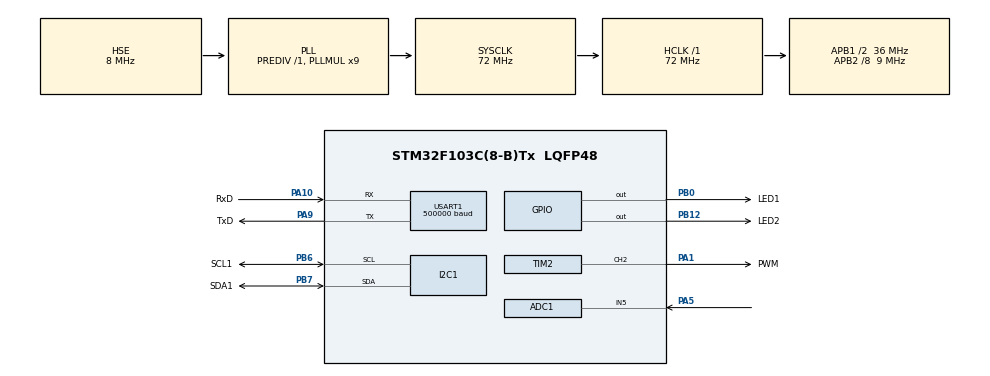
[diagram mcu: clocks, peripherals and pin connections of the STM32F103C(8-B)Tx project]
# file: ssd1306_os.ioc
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ADC1.Channel-0\#ChannelRegularConversion=ADC_CHANNEL_5
ADC1.ContinuousConvMode=ENABLE
ADC1.NbrOfConversionFlag=1
ADC1.Rank-0\#ChannelRegularConversion=1
ADC1.SamplingTime-0\#ChannelRegularConversion=ADC_SAMPLETIME_1CYCLE_5
ADC1.master=1
Dma.Request0=USART1_TX
Dma.Request1=TIM2_CH2/CH4
Dma.TIM2_CH2/CH4.1.Direction=DMA_MEMORY_TO_PERIPH
Dma.TIM2_CH2/CH4.1.Instance=DMA1_Channel7
Dma.TIM2_CH2/CH4.1.MemDataAlignment=DMA_MDATAALIGN_HALFWORD
Dma.TIM2_CH2/CH4.1.MemInc=DMA_MINC_ENABLE
Dma.TIM2_CH2/CH4.1.Mode=DMA_NORMAL
Dma.TIM2_CH2/CH4.1.PeriphDataAlignment=DMA_PDATAALIGN_HALFWORD
Dma.TIM2_CH2/CH4.1.PeriphInc=DMA_PINC_DISABLE
Dma.TIM2_CH2/CH4.1.Priority=DMA_PRIORITY_LOW
Dma.USART1_TX.0.Direction=DMA_MEMORY_TO_PERIPH
Dma.USART1_TX.0.Instance=DMA1_Channel4
Dma.USART1_TX.0.MemDataAlignment=DMA_MDATAALIGN_BYTE
Dma.USART1_TX.0.MemInc=DMA_MINC_ENABLE
Dma.USART1_TX.0.Mode=DMA_NORMAL
Dma.USART1_TX.0.PeriphDataAlignment=DMA_PDATAALIGN_BYTE
Dma.USART1_TX.0.PeriphInc=DMA_PINC_DISABLE
Dma.USART1_TX.0.Priority=DMA_PRIORITY_HIGH
FREERTOS.BinarySemaphores01=semUart,Dynamic,NULL
FREERTOS.HEAP_NUMBER=4
FREERTOS.INCLUDE_eTaskGetState=1
FREERTOS.INCLUDE_pcTaskGetTaskName=1
FREERTOS.INCLUDE_uxTaskGetStackHighWaterMark=1
FREERTOS.INCLUDE_vTaskCleanUpResources=1
FREERTOS.INCLUDE_vTaskDelayUntil=1
FREERTOS.INCLUDE_xEventGroupSetBitFromISR=0
FREERTOS.INCLUDE_xQueueGetMutexHolder=1
FREERTOS.INCLUDE_xSemaphoreGetMutexHolder=1
FREERTOS.INCLUDE_xTaskAbortDelay=1
FREERTOS.INCLUDE_xTaskGetCurrentTaskHandle=1
FREERTOS.INCLUDE_xTaskGetHandle=1
FREERTOS.INCLUDE_xTimerPendFunctionCall=0
FREERTOS.MEMORY_ALLOCATION=0
FREERTOS.Tasks01=defTask,1,768,StartDefTask,Default,NULL,Dynamic,NULL,NULL;sensTask,0,384,StartSensTask,Default,NULL,Dynamic,NULL,NULL;pwmTask,0,384,StartPwmTask,Default,NULL,Dynamic,NULL,NULL
FREERTOS.configCHECK_FOR_STACK_OVERFLOW=0
FREERTOS.configMINIMAL_STACK_SIZE=128
FREERTOS.configQUEUE_REGISTRY_SIZE=4
FREERTOS.configTOTAL_HEAP_SIZE=12288
FREERTOS.configUSE_APPLICATION_TASK_TAG=1
FREERTOS.configUSE_COUNTING_SEMAPHORES=1
FREERTOS.configUSE_CO_ROUTINES=0
FREERTOS.configUSE_IDLE_HOOK=1
FREERTOS.configUSE_MALLOC_FAILED_HOOK=1
FREERTOS.configUSE_MUTEXES=1
FREERTOS.configUSE_RECURSIVE_MUTEXES=1
FREERTOS.configUSE_TICKLESS_IDLE=1
FREERTOS.configUSE_TICK_HOOK=1
FREERTOS.configUSE_TIMERS=0
I2C1.I2C_Mode=I2C_Fast
Mcu.Family=STM32F1
Mcu.Name=STM32F103C(8-B)Tx
Mcu.Package=LQFP48
NVIC.ADC1_2_IRQn=true\:15\:0\:true\:false\:true\:false\:true\:true
NVIC.DMA1_Channel4_IRQn=true\:6\:0\:true\:false\:true\:false\:false\:true
NVIC.DMA1_Channel7_IRQn=true\:4\:0\:true\:false\:true\:false\:false\:true
NVIC.PriorityGroup=NVIC_PRIORITYGROUP_4
NVIC.RTC_IRQn=true\:2\:0\:true\:false\:true\:false\:true\:true
NVIC.TIM1_UP_IRQn=true\:1\:0\:true\:false\:true\:false\:true\:true
NVIC.TIM2_IRQn=true\:4\:0\:true\:false\:true\:false\:true\:true
NVIC.TIM4_IRQn=true\:0\:0\:false\:false\:true\:false\:false\:true
NVIC.TimeBase=TIM4_IRQn
NVIC.TimeBaseIP=TIM4
NVIC.USART1_IRQn=true\:3\:0\:true\:false\:true\:false\:true\:true
PA1.GPIO_Label=PWM
PA1.Signal=S_TIM2_CH2
PA10.GPIO_Label=RxD
PA10.GPIO_Mode=GPIO_MODE_INPUT
PA10.GPIO_PuPd=GPIO_NOPULL
PA10.Mode=Asynchronous
PA10.Signal=USART1_RX
PA13.Mode=Serial_Wire
PA13.Signal=SYS_JTMS-SWDIO
PA14.Mode=Serial_Wire
PA14.Signal=SYS_JTCK-SWCLK
PA5.Signal=ADCx_IN5
PA9.GPIO_Label=TxD
PA9.GPIO_Mode=GPIO_MODE_AF_PP
PA9.GPIO_Speed=GPIO_SPEED_FREQ_HIGH
PA9.Mode=Asynchronous
PA9.Signal=USART1_TX
PB0.GPIO_Label=LED1
PB0.GPIO_ModeDefaultOutputPP=GPIO_MODE_OUTPUT_PP
PB0.GPIO_PuPd=GPIO_NOPULL
PB0.GPIO_Speed=GPIO_SPEED_FREQ_LOW
PB0.PinState=GPIO_PIN_RESET
PB0.Signal=GPIO_Output
PB12.GPIO_Label=LED2
PB12.GPIO_ModeDefaultOutputPP=GPIO_MODE_OUTPUT_PP
PB12.GPIO_PuPd=GPIO_NOPULL
PB12.GPIO_Speed=GPIO_SPEED_FREQ_LOW
PB12.PinState=GPIO_PIN_RESET
PB12.Signal=GPIO_Output
PB6.GPIO_Label=SCL1
PB6.Mode=I2C
PB6.Signal=I2C1_SCL
PB7.GPIO_Label=SDA1
PB7.Mode=I2C
PB7.Signal=I2C1_SDA
PC14-OSC32_IN.Mode=LSE-External-Oscillator
PC14-OSC32_IN.Signal=RCC_OSC32_IN
PC15-OSC32_OUT.Mode=LSE-External-Oscillator
PC15-OSC32_OUT.Signal=RCC_OSC32_OUT
PD0-OSC_IN.Mode=HSE-External-Oscillator
PD0-OSC_IN.Signal=RCC_OSC_IN
PD1-OSC_OUT.Mode=HSE-External-Oscillator
PD1-OSC_OUT.Signal=RCC_OSC_OUT
ProjectManager.HeapSize=0x200
ProjectManager.StackSize=0x400
ProjectManager.TargetToolchain=SW4STM32
RCC.ADCPresc=RCC_ADCPCLK2_DIV8
RCC.AHBFreq_Value=72000000
RCC.APB1CLKDivider=RCC_HCLK_DIV2
RCC.APB1Freq_Value=36000000
RCC.APB1TimFreq_Value=72000000
RCC.APB2CLKDivider=RCC_HCLK_DIV8
RCC.APB2Freq_Value=9000000
RCC.APB2TimFreq_Value=18000000
RCC.HCLKFreq_Value=72000000
RCC.PLLMUL=RCC_PLL_MUL9
RCC.PLLSourceVirtual=RCC_PLLSOURCE_HSE
RCC.RTCClockSelection=RCC_RTCCLKSOURCE_LSE
RCC.SYSCLKFreq_VALUE=72000000
RCC.SYSCLKSource=RCC_SYSCLKSOURCE_PLLCLK
RCC.USBFreq_Value=72000000
RTC.AutoPrediv=RTC_AUTO_1_SECOND
RTC.Format=RTC_FORMAT_BIN
RTC.OutPut=RTC_OUTPUTSOURCE_ALARM
SH.ADCx_IN5.0=ADC1_IN5,IN5
SH.S_TIM2_CH2.0=TIM2_CH2,PWM Generation2 CH2
TIM1.AutoReloadPreload=TIM_AUTORELOAD_PRELOAD_ENABLE
TIM1.Period=499
TIM1.Prescaler=17999
TIM1.TIM_MasterOutputTrigger=TIM_TRGO_UPDATE
TIM2.AutoReloadPreload=TIM_AUTORELOAD_PRELOAD_ENABLE
TIM2.Channel-PWM\ Generation2\ CH2=TIM_CHANNEL_2
TIM2.Period=89
USART1.BaudRate=500000
USART1.VirtualMode=VM_ASYNC
VP_FREERTOS_VS_CMSIS_V1.Mode=CMSIS_V1
VP_RTC_VS_RTC_Activate.Mode=RTC_Enabled
VP_RTC_VS_RTC_Calendar.Mode=RTC_Calendar
VP_SYS_VS_tim4.Mode=TIM4
VP_TIM1_VS_ClockSourceINT.Mode=Internal
VP_TIM2_VS_ClockSourceINT.Mode=Internal
board=custom

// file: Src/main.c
/* USER CODE BEGIN Header */
/**
  ******************************************************************************
  * @file           : main.c
  * @brief          : Main program body
  ******************************************************************************
  * @attention
  *
  * <h2><center>&copy; Copyright (c) 2019 STMicroelectronics.
  * All rights reserved.</center></h2>
  *
  * This software component is licensed by ST under Ultimate Liberty license
  * SLA0044, the "License"; You may not use this file except in compliance with
  * the License. You may obtain a copy of the License at:
  *                             www.st.com/SLA0044
  *
  ******************************************************************************
  */
/* USER CODE END Header */

#include "main.h"

/* USER CODE BEGIN Includes */
#include "setDef.h"
#include "ssd1306.h"
#include "bmp280.h"
#include "ws2812.h"
#include "bh1750.h"
/*
post-build steps command:
arm-none-eabi-objcopy -O binary "${BuildArtifactFileBaseName}.elf" "${BuildArtifactFileBaseName}.bin" && ls -la | grep "${BuildArtifactFileBaseName}.*"
*/
/* USER CODE END Includes */

/* USER CODE BEGIN PD */

//const char *ver = "ver. 2.4";//16.04.2019 major changes : add freeRTOS
//const char *ver = "ver. 2.5";//19.04.2019 major changes : add mailQueue
//const char *ver = "ver. 2.6";//20.04.2019 major changes : add new feature - support ws2812
//const char *ver = "ver. 2.7";//20.04.2019 major changes : used dma1_ch4 for send data to uart1, used Semaphore for access to uart1
//const char *ver = "ver. 2.7.1";//21.04.2019 minor changes+
//const char *ver = "ver. 2.8";//22.04.2019 major changes : used i2c1 for ssd1306 and bmp280
//const char *ver = "ver. 2.9";//22.04.2019 final release : i2c1 without dma and interrupt
const char *ver = "ver. 3.0";//23.04.2019 final release+ : add bh1750 sensor

/* USER CODE END PD */

ADC_HandleTypeDef hadc1;

I2C_HandleTypeDef hi2c1;

RTC_HandleTypeDef hrtc;

TIM_HandleTypeDef htim1;
TIM_HandleTypeDef htim2;
DMA_HandleTypeDef hdma_tim2_ch2_ch4;

UART_HandleTypeDef huart1;
DMA_HandleTypeDef hdma_usart1_tx;

osThreadId defTaskHandle;
osThreadId bmpTaskHandle;
osThreadId pwmTaskHandle;
osSemaphoreId semUartHandle;
/* USER CODE BEGIN PV */

I2C_HandleTypeDef *portBMP;
I2C_HandleTypeDef *portSSD;
I2C_HandleTypeDef *portBH;

osMailQId mailQueue = NULL;

HAL_StatusTypeDef i2cError = HAL_OK;
const uint32_t min_wait_ms = 350;
const uint32_t max_wait_ms = 1000;
volatile static uint32_t secCounter = 0;
volatile static uint64_t HalfSecCounter = 0;
volatile static float dataADC = 0.0;

static const char *_extDate = "date=";
volatile uint32_t extDate = 0;
static bool setDate = false;
static char RxBuf[MAX_UART_BUF];
volatile uint8_t rx_uk;
volatile uint8_t uRxByte = 0;

uint8_t GoTxDMA = 0;

const rgb_t ws2812_const[LED_COUNT] = {
	RGB_SET(L64,   0,   0),
	RGB_SET(0,   L64,   0),
	RGB_SET(0,     0, L64),
	RGB_SET(L64, L64,   0),
	RGB_SET(0,   L64, L64),
	RGB_SET(L64,   0, L64),
	RGB_SET(L64, L64, L64),
	RGB_SET(L32,   0,   0)
};
const dir_mode_t scena[] = {
   	ZERO_ALL,
	RAINBOW,
   	COLOR_DOWN,
	COLOR_UP,
	WHITE_DOWN,
	WHITE_UP,
	ZERO_ALL
};

/* USER CODE END PV */

void SystemClock_Config(void);
static void MX_GPIO_Init(void);
static void MX_DMA_Init(void);
static void MX_USART1_UART_Init(void);
static void MX_ADC1_Init(void);
static void MX_RTC_Init(void);
static void MX_TIM1_Init(void);
static void MX_TIM2_Init(void);
static void MX_I2C1_Init(void);
void StartDefTask(void const * argument);
void StartSensTask(void const * argument);
void StartPwmTask(void const * argument);

/* USER CODE BEGIN PFP */

int sec_to_str_time(uint32_t sec, char *stx);
void inc_secCounter();
uint32_t get_secCounter();
uint32_t get_tmr(uint32_t sec);
bool check_tmr(uint32_t sec);
void Report(const char *txt, bool addTime);
void errLedOn(const char *from);

/* USER CODE END PFP */

int main(void)
{

  /* MCU Configuration--------------------------------------------------------*/

  /* Reset of all peripherals, Initializes the Flash interface and the Systick. */
  HAL_Init();

  /* Configure the system clock */
  SystemClock_Config();

  /* Initialize all configured peripherals */
  MX_GPIO_Init();
  MX_DMA_Init();
  MX_USART1_UART_Init();
  MX_ADC1_Init();
  MX_RTC_Init();
  MX_TIM1_Init();
  MX_TIM2_Init();
  MX_I2C1_Init();
  /* USER CODE BEGIN 2 */

  portBMP = &hi2c1;
  portSSD = &hi2c1;
  portBH  = &hi2c1;

  HAL_GPIO_WritePin(GPIOB, LED1_Pin | LED_ERROR, GPIO_PIN_SET);//LEDs OFF

  // start timer1 + interrupt
  HAL_TIM_Base_Start(&htim1);
  HAL_TIM_Base_Start_IT(&htim1);
  //start ADC1 + interrupt
  HAL_ADC_Start_IT(&hadc1);
  //"start" rx_interrupt
  HAL_UART_Receive_IT(&huart1, (uint8_t *)&uRxByte, 1);

  ssd1306_on(true);//screen ON
  if (!i2cError) {
	  ssd1306_init();//screen INIT
	  if (!i2cError) {
		  ssd1306_pattern();//set any params for screen
		  if (!i2cError) {
#ifdef SET_SSD1306_INVERT
			  ssd1306_invert();//set inverse color mode
			  if (!i2cError)
#endif
				  ssd1306_clear();//clear screen
		  }
      }
  }

  bh1750_off();

  /* USER CODE END 2 */

  /* Create the semaphores(s) */
  /* definition and creation of semUart */
  osSemaphoreDef(semUart);
  semUartHandle = osSemaphoreCreate(osSemaphore(semUart), 1);

  /* USER CODE BEGIN RTOS_QUEUES */
  /* add queues, ... */

  osMailQDef(nameQueue, 4, result_t);
  mailQueue = osMailCreate(osMailQ(nameQueue), NULL);

  /* USER CODE END RTOS_QUEUES */

  /* Create the thread(s) */
  /* definition and creation of defTask */
  osThreadDef(defTask, StartDefTask, osPriorityAboveNormal, 0, 768);
  defTaskHandle = osThreadCreate(osThread(defTask), NULL);

  /* definition and creation of sensTask */
  osThreadDef(sensTask, StartSensTask, osPriorityNormal, 0, 384);
  bmpTaskHandle = osThreadCreate(osThread(sensTask), NULL);

  /* definition and creation of pwmTask */
  osThreadDef(pwmTask, StartPwmTask, osPriorityNormal, 0, 384);
  pwmTaskHandle = osThreadCreate(osThread(pwmTask), NULL);

  /* Start scheduler */
  osKernelStart();

  /* We should never get here as control is now taken by the scheduler */

  /* Infinite loop */
  /* USER CODE BEGIN WHILE */

  	  LOOP_FOREVER();

    /* USER CODE END WHILE */

}

void SystemClock_Config(void)
{
  RCC_OscInitTypeDef RCC_OscInitStruct = {0};
  RCC_ClkInitTypeDef RCC_ClkInitStruct = {0};
  RCC_PeriphCLKInitTypeDef PeriphClkInit = {0};

  /** Initializes the CPU, AHB and APB busses clocks
  */
  RCC_OscInitStruct.OscillatorType = RCC_OSCILLATORTYPE_HSE|RCC_OSCILLATORTYPE_LSE;
  RCC_OscInitStruct.HSEState = RCC_HSE_ON;
  RCC_OscInitStruct.HSEPredivValue = RCC_HSE_PREDIV_DIV1;
  RCC_OscInitStruct.LSEState = RCC_LSE_ON;
  RCC_OscInitStruct.HSIState = RCC_HSI_ON;
  RCC_OscInitStruct.PLL.PLLState = RCC_PLL_ON;
  RCC_OscInitStruct.PLL.PLLSource = RCC_PLLSOURCE_HSE;
  RCC_OscInitStruct.PLL.PLLMUL = RCC_PLL_MUL9;
  if (HAL_RCC_OscConfig(&RCC_OscInitStruct) != HAL_OK)
  {
    Error_Handler();
  }
  /** Initializes the CPU, AHB and APB busses clocks
  */
  RCC_ClkInitStruct.ClockType = RCC_CLOCKTYPE_HCLK|RCC_CLOCKTYPE_SYSCLK
                              |RCC_CLOCKTYPE_PCLK1|RCC_CLOCKTYPE_PCLK2;
  RCC_ClkInitStruct.SYSCLKSource = RCC_SYSCLKSOURCE_PLLCLK;
  RCC_ClkInitStruct.AHBCLKDivider = RCC_SYSCLK_DIV1;
  RCC_ClkInitStruct.APB1CLKDivider = RCC_HCLK_DIV2;
  RCC_ClkInitStruct.APB2CLKDivider = RCC_HCLK_DIV8;

  if (HAL_RCC_ClockConfig(&RCC_ClkInitStruct, FLASH_LATENCY_2) != HAL_OK)
  {
    Error_Handler();
  }
  PeriphClkInit.PeriphClockSelection = RCC_PERIPHCLK_RTC|RCC_PERIPHCLK_ADC;
  PeriphClkInit.RTCClockSelection = RCC_RTCCLKSOURCE_LSE;
  PeriphClkInit.AdcClockSelection = RCC_ADCPCLK2_DIV8;
  if (HAL_RCCEx_PeriphCLKConfig(&PeriphClkInit) != HAL_OK)
  {
    Error_Handler();
  }
}

static void MX_ADC1_Init(void)
{

  ADC_ChannelConfTypeDef sConfig = {0};

  /** Common config
  */
  hadc1.Instance = ADC1;
  hadc1.Init.ScanConvMode = ADC_SCAN_DISABLE;
  hadc1.Init.ContinuousConvMode = ENABLE;
  hadc1.Init.DiscontinuousConvMode = DISABLE;
  hadc1.Init.ExternalTrigConv = ADC_SOFTWARE_START;
  hadc1.Init.DataAlign = ADC_DATAALIGN_RIGHT;
  hadc1.Init.NbrOfConversion = 1;
  if (HAL_ADC_Init(&hadc1) != HAL_OK)
  {
    Error_Handler();
  }
  /** Configure Regular Channel
  */
  sConfig.Channel = ADC_CHANNEL_5;
  sConfig.Rank = ADC_REGULAR_RANK_1;
  sConfig.SamplingTime = ADC_SAMPLETIME_1CYCLE_5;
  if (HAL_ADC_ConfigChannel(&hadc1, &sConfig) != HAL_OK)
  {
    Error_Handler();
  }

}

static void MX_I2C1_Init(void)
{

  hi2c1.Instance = I2C1;
  hi2c1.Init.ClockSpeed = 400000;
  hi2c1.Init.DutyCycle = I2C_DUTYCYCLE_2;
  hi2c1.Init.OwnAddress1 = 0;
  hi2c1.Init.AddressingMode = I2C_ADDRESSINGMODE_7BIT;
  hi2c1.Init.DualAddressMode = I2C_DUALADDRESS_DISABLE;
  hi2c1.Init.OwnAddress2 = 0;
  hi2c1.Init.GeneralCallMode = I2C_GENERALCALL_DISABLE;
  hi2c1.Init.NoStretchMode = I2C_NOSTRETCH_DISABLE;
  if (HAL_I2C_Init(&hi2c1) != HAL_OK)
  {
    Error_Handler();
  }

}

static void MX_RTC_Init(void)
{

  RTC_TimeTypeDef sTime = {0};
  RTC_DateTypeDef DateToUpdate = {0};

  /** Initialize RTC Only
  */
  hrtc.Instance = RTC;
  hrtc.Init.AsynchPrediv = RTC_AUTO_1_SECOND;
  hrtc.Init.OutPut = RTC_OUTPUTSOURCE_ALARM;
  if (HAL_RTC_Init(&hrtc) != HAL_OK)
  {
    Error_Handler();
  }

  /** Initialize RTC and set the Time and Date
  */
  sTime.Hours = 0;
  sTime.Minutes = 0;
  sTime.Seconds = 0;

  if (HAL_RTC_SetTime(&hrtc, &sTime, RTC_FORMAT_BIN) != HAL_OK)
  {
    Error_Handler();
  }
  DateToUpdate.WeekDay = RTC_WEEKDAY_MONDAY;
  DateToUpdate.Month = RTC_MONTH_JANUARY;
  DateToUpdate.Date = 1;
  DateToUpdate.Year = 0;

  if (HAL_RTC_SetDate(&hrtc, &DateToUpdate, RTC_FORMAT_BIN) != HAL_OK)
  {
    Error_Handler();
  }

}

static void MX_TIM1_Init(void)
{

  /* USER CODE BEGIN TIM1_Init 0 */
	secCounter     = 0; //1 sec counter (32bit)
	HalfSecCounter = 0; // 0.5 sec counter (64bit)
  /* USER CODE END TIM1_Init 0 */

  TIM_ClockConfigTypeDef sClockSourceConfig = {0};
  TIM_MasterConfigTypeDef sMasterConfig = {0};

  htim1.Instance = TIM1;
  htim1.Init.Prescaler = 17999;
  htim1.Init.CounterMode = TIM_COUNTERMODE_UP;
  htim1.Init.Period = 499;
  htim1.Init.ClockDivision = TIM_CLOCKDIVISION_DIV1;
  htim1.Init.RepetitionCounter = 0;
  htim1.Init.AutoReloadPreload = TIM_AUTORELOAD_PRELOAD_ENABLE;
  if (HAL_TIM_Base_Init(&htim1) != HAL_OK)
  {
    Error_Handler();
  }
  sClockSourceConfig.ClockSource = TIM_CLOCKSOURCE_INTERNAL;
  if (HAL_TIM_ConfigClockSource(&htim1, &sClockSourceConfig) != HAL_OK)
  {
    Error_Handler();
  }
  sMasterConfig.MasterOutputTrigger = TIM_TRGO_UPDATE;
  sMasterConfig.MasterSlaveMode = TIM_MASTERSLAVEMODE_DISABLE;
  if (HAL_TIMEx_MasterConfigSynchronization(&htim1, &sMasterConfig) != HAL_OK)
  {
    Error_Handler();
  }

}

static void MX_TIM2_Init(void)
{

  TIM_ClockConfigTypeDef sClockSourceConfig = {0};
  TIM_MasterConfigTypeDef sMasterConfig = {0};
  TIM_OC_InitTypeDef sConfigOC = {0};

  htim2.Instance = TIM2;
  htim2.Init.Prescaler = 0;
  htim2.Init.CounterMode = TIM_COUNTERMODE_UP;
  htim2.Init.Period = 89;
  htim2.Init.ClockDivision = TIM_CLOCKDIVISION_DIV1;
  htim2.Init.AutoReloadPreload = TIM_AUTORELOAD_PRELOAD_ENABLE;
  if (HAL_TIM_Base_Init(&htim2) != HAL_OK)
  {
    Error_Handler();
  }
  sClockSourceConfig.ClockSource = TIM_CLOCKSOURCE_INTERNAL;
  if (HAL_TIM_ConfigClockSource(&htim2, &sClockSourceConfig) != HAL_OK)
  {
    Error_Handler();
  }
  if (HAL_TIM_PWM_Init(&htim2) != HAL_OK)
  {
    Error_Handler();
  }
  sMasterConfig.MasterOutputTrigger = TIM_TRGO_RESET;
  sMasterConfig.MasterSlaveMode = TIM_MASTERSLAVEMODE_DISABLE;
  if (HAL_TIMEx_MasterConfigSynchronization(&htim2, &sMasterConfig) != HAL_OK)
  {
    Error_Handler();
  }
  sConfigOC.OCMode = TIM_OCMODE_PWM1;
  sConfigOC.Pulse = 0;
  sConfigOC.OCPolarity = TIM_OCPOLARITY_HIGH;
  sConfigOC.OCFastMode = TIM_OCFAST_DISABLE;
  if (HAL_TIM_PWM_ConfigChannel(&htim2, &sConfigOC, TIM_CHANNEL_2) != HAL_OK)
  {
    Error_Handler();
  }
  HAL_TIM_MspPostInit(&htim2);

}

static void MX_USART1_UART_Init(void)
{

  /* USER CODE BEGIN USART1_Init 0 */
	memset(RxBuf, 0, MAX_UART_BUF);
	rx_uk = 0;
  /* USER CODE END USART1_Init 0 */

  huart1.Instance = USART1;
  huart1.Init.BaudRate = 500000;
  huart1.Init.WordLength = UART_WORDLENGTH_8B;
  huart1.Init.StopBits = UART_STOPBITS_1;
  huart1.Init.Parity = UART_PARITY_NONE;
  huart1.Init.Mode = UART_MODE_TX_RX;
  huart1.Init.HwFlowCtl = UART_HWCONTROL_NONE;
  huart1.Init.OverSampling = UART_OVERSAMPLING_16;
  if (HAL_UART_Init(&huart1) != HAL_OK)
  {
    Error_Handler();
  }

}

static void MX_DMA_Init(void)
{
  /* DMA controller clock enable */
  __HAL_RCC_DMA1_CLK_ENABLE();

  /* DMA interrupt init */
  /* DMA1_Channel4_IRQn interrupt configuration */
  HAL_NVIC_SetPriority(DMA1_Channel4_IRQn, 6, 0);
  HAL_NVIC_EnableIRQ(DMA1_Channel4_IRQn);
  /* DMA1_Channel7_IRQn interrupt configuration */
  HAL_NVIC_SetPriority(DMA1_Channel7_IRQn, 4, 0);
  HAL_NVIC_EnableIRQ(DMA1_Channel7_IRQn);

}

static void MX_GPIO_Init(void)
{
  GPIO_InitTypeDef GPIO_InitStruct = {0};

  /* GPIO Ports Clock Enable */
  __HAL_RCC_GPIOC_CLK_ENABLE();
  __HAL_RCC_GPIOD_CLK_ENABLE();
  __HAL_RCC_GPIOA_CLK_ENABLE();
  __HAL_RCC_GPIOB_CLK_ENABLE();

  /*Configure GPIO pin Output Level */
  HAL_GPIO_WritePin(GPIOB, LED1_Pin|LED2_Pin, GPIO_PIN_RESET);

  /*Configure GPIO pins : LED1_Pin LED2_Pin */
  GPIO_InitStruct.Pin = LED1_Pin|LED2_Pin;
  GPIO_InitStruct.Mode = GPIO_MODE_OUTPUT_PP;
  GPIO_InitStruct.Pull = GPIO_NOPULL;
  GPIO_InitStruct.Speed = GPIO_SPEED_FREQ_LOW;
  HAL_GPIO_Init(GPIOB, &GPIO_InitStruct);

}

/* USER CODE BEGIN 4 */
//-----------------------------------------------------------------------------
void set_Date(time_t epoch)
{
RTC_TimeTypeDef sTime;
RTC_DateTypeDef sDate;
struct tm ts;

	gmtime_r(&epoch, &ts);

	sDate.WeekDay = ts.tm_wday;
	sDate.Month   = ts.tm_mon + 1;
	sDate.Date    = ts.tm_mday;
	sDate.Year    = ts.tm_year;
	if (HAL_RTC_SetDate(&hrtc, &sDate, RTC_FORMAT_BIN) != HAL_OK) errLedOn(__func__);
	else {
		sTime.Hours   = ts.tm_hour;
		sTime.Minutes = ts.tm_min;
		sTime.Seconds = ts.tm_sec;
		if (HAL_RTC_SetTime(&hrtc, &sTime, RTC_FORMAT_BIN) != HAL_OK) errLedOn(__func__);
		else {
			setDate = true;
		}
	}
}
//-----------------------------------------------------------------------------
int sec_to_str_time(uint32_t sec, char *stx)
{
	uint32_t day = sec / (60 * 60 * 24);
	sec %= (60 * 60 * 24);
    uint32_t hour = sec / (60 * 60);
    sec %= (60 * 60);
    uint32_t min = sec / (60);
    sec %= 60;
    return (sprintf(stx, "%lu.%02lu:%02lu:%02lu", day, hour, min, sec));
}
//-----------------------------------------------------------------------------
uint32_t get_secCounter()
{
	return secCounter;
}
//-----------------------------------------------------------------------------
void inc_secCounter()
{
	secCounter++;
}
//-----------------------------------------------------------------------------
uint64_t get_hsCounter()
{
	return HalfSecCounter;
}
//-----------------------------------------------------------------------------
void inc_hsCounter()
{
	HalfSecCounter++;
}
//------------------------------------------------------------------------------------------
uint32_t get_tmr(uint32_t sec)
{
	return (get_secCounter() + sec);
}
//------------------------------------------------------------------------------------------
bool check_tmr(uint32_t sec)
{
	return (get_secCounter() >= sec ? true : false);
}
//------------------------------------------------------------------------------------------
uint64_t get_hstmr(uint64_t hs)
{
	return (get_hsCounter() + hs);
}
//------------------------------------------------------------------------------------------
bool check_hstmr(uint64_t hs)
{
	return (get_hsCounter() >= hs ? true : false);
}
//------------------------------------------------------------------------------------------
// set LED_ERROR when error on and send message to UART1 (in from != NULL)
//     from - name of function where error location
void errLedOn(const char *from)
{
	HAL_GPIO_WritePin(GPIOB, LED_ERROR, GPIO_PIN_RESET);//LED ON
	HAL_Delay(250);
	HAL_GPIO_WritePin(GPIOB, LED_ERROR, GPIO_PIN_SET);//LED OFF
	HAL_Delay(250);
	HAL_GPIO_WritePin(GPIOB, LED_ERROR, GPIO_PIN_RESET);//LED ON

	if (from) {
		char *stx = (char *)pvPortMalloc(strlen(from) + 16);
		if (stx) {
			sprintf(stx, "Error in '%s'\r\n", from);
			Report(stx, true);
			vPortFree(stx);
		}
	}
}
//----------------------------------------------------------------------------------------
void sec_to_string(uint32_t sec, char *stx)
{
	if (!setDate) {//no valid date in RTC
		uint32_t day = sec / (60 * 60 * 24);
		sec %= (60 * 60 * 24);
		uint32_t hour = sec / (60 * 60);
		sec %= (60 * 60);
		uint32_t min = sec / (60);
		sec %= 60;
		sprintf(stx, "%03lu.%02lu:%02lu:%02lu | ", day, hour, min, sec);
	} else {//in RTC valid date (epoch time)
		RTC_TimeTypeDef sTime;
		RTC_DateTypeDef sDate;
		if (HAL_RTC_GetDate(&hrtc, &sDate, RTC_FORMAT_BIN) != HAL_OK) errLedOn(__func__);
		else {
			if (HAL_RTC_GetTime(&hrtc, &sTime, RTC_FORMAT_BIN) != HAL_OK) errLedOn(__func__);
			else {
				sprintf(stx, "%04u.%02u.%02u %02u:%02u:%02u | ",
							sDate.Year + 1900, sDate.Month, sDate.Date,
							sTime.Hours, sTime.Minutes, sTime.Seconds);
			}
		}
	}

    return;
}
//----------------------------------------------------------------------------------------
//	Out to UART1 data from buffer (like printf)
//     txt - string for send to uart
//     addTime - flag insert or not secCount before txt
void Report(const char *txt, bool addTime)
{
HAL_StatusTypeDef er = HAL_OK;

	if (!txt) return;
	size_t len = strlen(txt);
	if (!len) return;
	if (addTime) len += 24;
	char *stx = (char *)pvPortMalloc(len + 1);
	if (stx) {
		stx[0] = 0;
		if (addTime) {
			uint32_t ep;
			if (!setDate) ep = get_secCounter();
					 else ep = extDate;
			sec_to_string(ep, stx);
		}
		strcat(stx, txt);

		if (osSemaphoreWait(semUartHandle, 2000) == osOK) {
			er = HAL_UART_Transmit_DMA(&huart1, (uint8_t *)stx, strlen(stx));
			osSemaphoreRelease(semUartHandle);
		} else er = HAL_ERROR;

		vPortFree(stx);
	} else er = HAL_ERROR;

	if (er != HAL_OK) errLedOn(NULL);
}
//------------------------------------------------------------------------------------------
void HAL_ADC_ConvCpltCallback(ADC_HandleTypeDef *hadc)
{
	if (hadc->Instance == ADC1) {
		dataADC = ((float)HAL_ADC_GetValue(hadc)) * 3.3 / 4096;
	}
}
//------------------------------------------------------------------------------------------
void HAL_UART_RxCpltCallback(UART_HandleTypeDef *huart)
{
	if (huart->Instance == USART1) {
		RxBuf[rx_uk & 0xff] = (char)uRxByte;
		if ((uRxByte == 0x0a) || (uRxByte == 0x0d)) {//end of line
			char *uk = strstr(RxBuf, _extDate);//const char *_extDate = "date=";
			if (uk) {
				uk += strlen(_extDate);
				if (*uk != '?') {
					if (strlen(uk) < 10) setDate = false;
					else {
						extDate = atoi(uk);
						set_Date((time_t)extDate);
					}
				} else setDate = true;
			}
			rx_uk = 0;
			memset(RxBuf, 0, sizeof(RxBuf));
		} else rx_uk++;

		HAL_UART_Receive_IT(huart, (uint8_t *)&uRxByte, 1);

	}
}
//------------------------------------------------------------------------------------------

/* USER CODE END 4 */

void StartDefTask(void const * argument)
{

  /* USER CODE BEGIN 5 */
  /* Infinite loop */

	char *stx = (char *)pvPortMalloc(256);
	if (!stx) {
		errLedOn(__func__);
		LOOP_FOREVER();
		//osThreadTerminate(osThreadGetId());
	}
	char toScreen[64] = {0};
	result_t *ones = NULL;
	result_t evt;
	osEvent event;

/*
	HAL_Delay(10);
	char tmp[32];
	sprintf(tmp, "free: %u", xPortGetFreeHeapSize());
	uint8_t col = ssd1306_calcx(strlen(tmp));
	ssd1306_text_xy(tmp, col, 1);
*/
	while (1) {

		if (mailQueue) {
			event = osMailGet(mailQueue, 100);
			if (event.status == osEventMail) ones = event.value.p;
		}
		if (ones) {
			memcpy((uint8_t *)&evt, (uint8_t *)ones, sizeof(result_t));
			osMailFree(mailQueue, ones);
			ones = NULL;
			sprintf(stx, "Vcc=%.3f v; ", dataADC);
			switch (evt.chip) {
					case BMP280_SENSOR : strcat(stx, "BMP280:"); break;
					case BME280_SENSOR : strcat(stx, "BME280:"); break;
						default : strcat(stx, "Unknown:");
			}
			sprintf(stx+strlen(stx), " Press=%.2f mmHg, Temp=%.2f DegC", evt.pres, evt.temp);
			if (evt.chip == BME280_SENSOR) sprintf(stx+strlen(stx), " Humidity=%.2f %%rH", evt.humi);
			sprintf(stx+strlen(stx),"; BH1750: Lux=%.2f lx\r\n", evt.lux);
			//
			if (i2cError == HAL_OK) {
				uint8_t row = 6;
				sprintf(toScreen, "mmHg : %.2f\nDegC : %.2f", evt.pres, evt.temp);
				if (evt.chip == BME280_SENSOR) {
					sprintf(toScreen+strlen(toScreen), "\nHumi: %.2f %%rH", evt.humi);
					row = 5;
				}
				sprintf(toScreen+strlen(toScreen), "\nLux  : %.2f", evt.lux);
#ifdef SET_SSD1306_INVERT
				ssd1306_invert();
				if (!i2cError)
#endif
					ssd1306_text_xy(toScreen, 1, row);//send string to screen
			}
			Report(stx, true);
		}

		osDelay(100);
	}

  /* USER CODE END 5 */
}

void StartSensTask(void const * argument)
{
  /* USER CODE BEGIN StartBmpTask */
	/* Infinite loop */

	// variable declaration for BMP280 sensor

	uint8_t data_rdx[DATA_LENGTH] = {0};
	uint8_t reg_id   = 0;
	uint8_t reg_stat = 0;
	uint8_t reg_mode = 0;
	uint8_t reg_conf = 0;
	size_t d_size    = 1;
	int32_t temp, pres, humi = 0;

	result_t sens;
	result_t *ones = NULL;

	uint16_t lux = 0;
	float lx = -1.0;
	bh1750_on_mode();

	uint32_t wait_sensor = get_tmr(2);

	while (1) {

		if (check_tmr(wait_sensor)) {
			wait_sensor = get_tmr(wait_sensor_def);
			//--------------------  BH1750  ---------------------------------
			lx = -1.0;
			if (bh1750_proc(&lux) == HAL_OK) lx = lux / 1.2;
			sens.lux = lx;
			//--------------------  BMP280  ---------------------------------
			if (i2c_master_reset_sensor(&reg_id) != HAL_OK) {
				wait_sensor = get_tmr(2);
				continue;
			}
			switch (reg_id) {
				case BMP280_SENSOR : d_size = 6; break;
				case BME280_SENSOR : d_size = 8; break;
				default : {
					wait_sensor = get_tmr(2);
					continue;
				}
			}
			if (i2c_master_test_sensor(&reg_stat, &reg_mode, &reg_conf, reg_id) != HAL_OK) {
				wait_sensor = get_tmr(2);
				continue;
			}
			reg_stat &= 0x0f;
			memset(data_rdx, 0, DATA_LENGTH);
			if (i2c_master_read_sensor(BMP280_REG_PRESSURE, data_rdx, d_size) == HAL_OK) {
				if (bmp280_readCalibrationData(reg_id) == HAL_OK) {
					pres = temp = 0;
					pres = (data_rdx[0] << 12) | (data_rdx[1] << 4) | (data_rdx[2] >> 4);
					temp = (data_rdx[3] << 12) | (data_rdx[4] << 4) | (data_rdx[5] >> 4);
					if (reg_id == BME280_SENSOR) humi = (data_rdx[6] << 8) | data_rdx[7];
					bmp280_CalcAll(&sens, reg_id, temp, pres, humi);
					if (mailQueue) {
						ones = (result_t *)osMailAlloc(mailQueue, 1000);//osWaitForever);
						if (ones) {
							memcpy((uint8_t *)ones, (uint8_t *)&sens, sizeof(result_t));
							osMailPut(mailQueue, (void *)ones);
						}
					}
				}
			}
		}

		osDelay(10);
	}

  /* USER CODE END StartBmpTask */
}

void StartPwmTask(void const * argument)
{
  /* USER CODE BEGIN StartPwmTask */

	//for WS2812 : tim2_channel2 + dma1_channel7
	uint8_t scenaINDEX = 0;
	bool new_scena = false, proc = true;
	const uint8_t maxSCENA = sizeof(scena);
	dir_mode_t ledMode = scena[scenaINDEX];
	static rgb_t ws2812_arr[LED_COUNT];

	ws2812_init();

	//for ledMode : RAINBOW, WHITE_X, COLOR_X
	const uint8_t anim_step = 10;
	const uint8_t anim_max = 150;
	const uint32_t cntMode_def = 250;
	rgb_t color1, color2;
	uint8_t step1 = 0, step2 = 0, shift = 0, c_max = anim_max, c_min = 0, ind;
	uint32_t cntMode = cntMode_def;
	bool line_first = true;

	uint32_t msec = 10;

	/* Infinite loop */

	uint64_t wait_pwm = get_hstmr(2);//1 sec

	while (1) {
	  	if (check_hstmr(wait_pwm) && !GoTxDMA) {
	  		msec = 2;//10
	  		switch (ledMode) {
	  			case RAINBOW :
	  				if (line_first) {
	  					color1 = color2 = RGB_SET(anim_max, 0, 0);
	  					step1 = step2 = 0;
	  					line_first = false;
	  				}
	  				color1 = color2;
	  				step1 = step2;
	  				for (ind = 0; ind < LED_COUNT; ind++) {
	  					ws2812_arr[ind] = color1;
	  					if (ind == 1) {
	  						color2 = color1;
	  						step2 = step1;
	  					}
	  					switch (step1) {
	  						case 0:
	  							color1.green += anim_step;
	  							if (color1.green >= anim_max) step1++;
	  						break;
	  						case 1:
	  							color1.red -= anim_step;
	  							if (color1.red == 0) step1++;
	  						break;
	  						case 2:
	  							color1.blue += anim_step;
	  							if (color1.blue >= anim_max) step1++;
	  						break;
	  						case 3:
	  							color1.green -= anim_step;
	  							if (color1.green == 0) step1++;
	  						break;
	  						case 4:
	  							color1.red += anim_step;
	  							if (color1.red >= anim_max) step1++;
	  						break;
	  						case 5:
	  							color1.blue -= anim_step;
	  							if (color1.blue == 0) step1 = 0;
	  						break;
	  					}
	  				}
	  				proc = true;
	  				new_scena = false;
	  				cntMode--;
	  				if (!cntMode) {
	  					cntMode = cntMode_def;
	  					new_scena = true;
	  					line_first = true;
	  				}
	  			break;
	  			case COLOR_UP :
	  			case COLOR_DOWN :
	  			case WHITE_UP :
	  			case WHITE_DOWN :
	  				if (line_first) {
	  					if (ledMode == COLOR_UP) {
	  						shift = 0;
	  						c_min = 0; c_max = anim_max;
	  					} else if (ledMode == COLOR_DOWN) {
	  						shift = LED_COUNT - 1;
	  						c_min = 0; c_max = anim_max;
	  					} else if (ledMode == WHITE_UP) {
	  						shift = 0;
	  						c_min = c_max = anim_max;
	  					} else if (ledMode == WHITE_DOWN) {
	  						shift = LED_COUNT - 1;
	  						c_min = c_max = anim_max;
	  					}
	  					line_first = false;
	  				}
	  				step1 = 0;
	  				color1 = color2 = RGB_SET(0,0,0);
	  				for (ind = 0; ind < LED_COUNT; ind++) {
	  					switch (step1) {
	  						case 0:
	  							color1.red = c_max;
	  							color1.green = color1.blue = c_min;
	  							step1++;
	  						break;
	  						case 1:
	  							color1.green = c_max;
	  							color1.red = color1.blue = c_min;
	  							step1++;
	  						break;
	  						case 2:
	  							color1.blue = c_max;
	  							color1.red = color1.green = c_min;
	  							step1++;
	  						break;
	  						case 3:
	  							color1.red = color1.green = c_max;
	  							color1.blue = c_min;
	  							step1++;
	  						break;
	  						case 4:
	  							color1.red = color1.blue = c_max;
	  							color1.green = c_min;
	  							step1++;
	  						break;
	  						case 5:
	  							color1.green = color1.blue =  c_max;
	  							color1.red = c_min;
	  							step1 = 0;
	  						break;
	  					}
	  					if (ind == shift)
	  						ws2812_arr[ind] = color1;
	  					else
	  						ws2812_arr[ind] = color2;
	  				}
	  				if ((ledMode == COLOR_UP) || (ledMode == WHITE_UP)) {
	  					shift++;
	  					if (shift >= LED_COUNT) shift = 0;
	  				} else if ((ledMode == COLOR_DOWN) || (ledMode == WHITE_DOWN)) {
	  					if (shift > 0)
	  						shift--;
	  					else
	  						shift = LED_COUNT - 1;
	  				}
	  				proc = true;
	  				new_scena = false;
	  				cntMode--;
	  				if (!cntMode) {
	  					cntMode = cntMode_def;
	  					new_scena = true;
	  					line_first = true;
	  				}
	  			break;
	  			case ZERO_ALL :
	  				memset((uint8_t *)&ws2812_arr, 0, sizeof(rgb_t)*LED_COUNT);
	  				new_scena = proc = true;
	  			break;
	  			case COLOR_ALL :
	  				memcpy((uint8_t *)&ws2812_arr, (uint8_t *)&ws2812_const, sizeof(rgb_t)*LED_COUNT);
	  				new_scena = proc = true;
	  			break;
	  		}
	  		if (new_scena) {
	  			new_scena = false;
	  			scenaINDEX++; if (scenaINDEX >= maxSCENA) scenaINDEX = 0;
	  			ledMode = scena[scenaINDEX];
	  		}
	  		if (proc) {
	  			ws2812_setData((void *)&ws2812_arr);
	  			ws2812_start();
	  			if ((ledMode == COLOR_ALL) || (ledMode == ZERO_ALL)) {
	  				cntMode = cntMode_def;
	  				line_first = true;
	  				wait_pwm = get_hstmr(2);//1 sec
	  			} else msec = 20;//30
	  		}
	  	}
	  	//
		osDelay(msec);
	}

  /* USER CODE END StartPwmTask */
}

void HAL_TIM_PeriodElapsedCallback(TIM_HandleTypeDef *htim)
{
  if (htim->Instance == TIM4) {
    HAL_IncTick();
  }
  /* USER CODE BEGIN Callback 1 */
  if (htim->Instance == TIM1) {//half seconda
	  if (get_hsCounter() & 1) {//seconda
		  inc_secCounter();
		  HAL_GPIO_TogglePin(GPIOB, LED1_Pin);//set ON/OFF LED1

		  if (!i2cError) {
			  char buf[64];
			  uint8_t col = ssd1306_calcx(sec_to_str_time(get_secCounter(), buf));
			  sprintf(buf+strlen(buf), "\n\nvolt : %.3f", dataADC);
			  ssd1306_text_xy(buf, col, 2);
		  }
	  }
	  inc_hsCounter();
  }
  /* USER CODE END Callback 1 */
}

void Error_Handler(void)
{
}

/************************ (C) COPYRIGHT STMicroelectronics *****END OF FILE****/

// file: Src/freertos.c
/* USER CODE BEGIN Header */
/**
  ******************************************************************************
  * File Name          : freertos.c
  * Description        : Code for freertos applications
  ******************************************************************************
  * @attention
  *
  * <h2><center>&copy; Copyright (c) 2019 STMicroelectronics.
  * All rights reserved.</center></h2>
  *
  * This software component is licensed by ST under Ultimate Liberty license
  * SLA0044, the "License"; You may not use this file except in compliance with
  * the License. You may obtain a copy of the License at:
  *                             www.st.com/SLA0044
  *
  ******************************************************************************
  */
/* USER CODE END Header */

#include "FreeRTOS.h"
#include "task.h"
#include "main.h"

/* Pre/Post sleep processing prototypes */
void PreSleepProcessing(uint32_t *ulExpectedIdleTime);
void PostSleepProcessing(uint32_t *ulExpectedIdleTime);

/* Hook prototypes */
void vApplicationIdleHook(void);
void vApplicationTickHook(void);
void vApplicationMallocFailedHook(void);

/* USER CODE BEGIN 2 */
__weak void vApplicationIdleHook( void )
{
   /* vApplicationIdleHook() will only be called if configUSE_IDLE_HOOK is set
   to 1 in FreeRTOSConfig.h. It will be called on each iteration of the idle
   task. It is essential that code added to this hook function never attempts
   to block in any way (for example, call xQueueReceive() with a block time
   specified, or call vTaskDelay()). If the application makes use of the
   vTaskDelete() API function (as this demo application does) then it is also
   important that vApplicationIdleHook() is permitted to return to its calling
   function, because it is the responsibility of the idle task to clean up
   memory allocated by the kernel to any task that has since been deleted. */
}
/* USER CODE END 2 */

/* USER CODE BEGIN 3 */
__weak void vApplicationTickHook( void )
{
   /* This function will be called by each tick interrupt if
   configUSE_TICK_HOOK is set to 1 in FreeRTOSConfig.h. User code can be
   added here, but the tick hook is called from an interrupt context, so
   code must not attempt to block, and only the interrupt safe FreeRTOS API
   functions can be used (those that end in FromISR()). */
}
/* USER CODE END 3 */

/* USER CODE BEGIN 5 */
__weak void vApplicationMallocFailedHook(void)
{
   /* vApplicationMallocFailedHook() will only be called if
   configUSE_MALLOC_FAILED_HOOK is set to 1 in FreeRTOSConfig.h. It is a hook
   function that will get called if a call to pvPortMalloc() fails.
   pvPortMalloc() is called internally by the kernel whenever a task, queue,
   timer or semaphore is created. It is also called by various parts of the
   demo application. If heap_1.c or heap_2.c are used, then the size of the
   heap available to pvPortMalloc() is defined by configTOTAL_HEAP_SIZE in
   FreeRTOSConfig.h, and the xPortGetFreeHeapSize() API function can be used
   to query the size of free heap space that remains (although it does not
   provide information on how the remaining heap might be fragmented). */
}
/* USER CODE END 5 */

/* USER CODE BEGIN PREPOSTSLEEP */
__weak void PreSleepProcessing(uint32_t *ulExpectedIdleTime)
{
/* place for user code */
}

__weak void PostSleepProcessing(uint32_t *ulExpectedIdleTime)
{
/* place for user code */
}
/* USER CODE END PREPOSTSLEEP */

/************************ (C) COPYRIGHT STMicroelectronics *****END OF FILE****/
